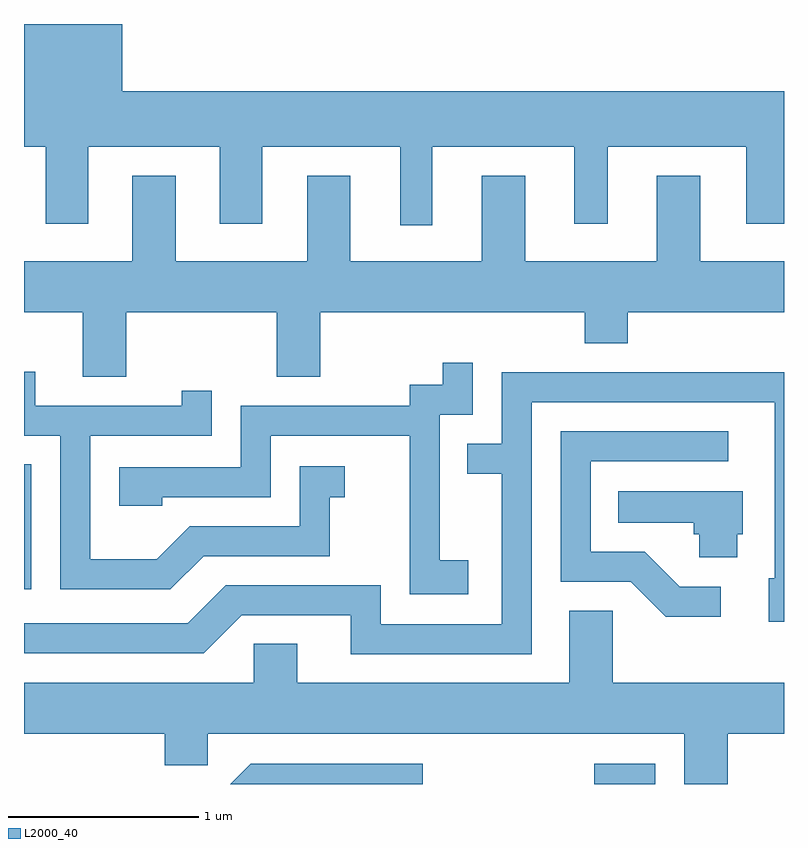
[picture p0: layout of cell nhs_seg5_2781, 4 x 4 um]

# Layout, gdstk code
import gdstk
lib = gdstk.Library(unit=1e-6, precision=1e-09)
def R(c, l, rs):  # rectangles x0, y0, x1, y1
    for r in rs: c.add(gdstk.rectangle(r[:2], r[2:], *l))
def P(c, l, *ps):  # polygons
    for p in ps: c.add(gdstk.Polygon(p, *l))
L2000_40 = (2000, 40)

nhs_seg5_2781 = lib.new_cell('nhs_seg5_2781')
R(nhs_seg5_2781, L2000_40, [(270.613,1472.072,270.934,1472.179), (267.611,1473.096,267.649,1473.754)])
P(nhs_seg5_2781, L2000_40, [(269.759,1475.426),(270.506,1475.426),(270.506,1475.021),(270.684,1475.021),(270.684,1475.426),(271.411,1475.426),(271.411,1475.021),(271.611,1475.021),(271.611,1475.719),(268.129,1475.719),(268.129,1476.072),(267.611,1476.072),(267.611,1475.426),(267.726,1475.426),(267.726,1475.021),(267.949,1475.021),(267.949,1475.426),(268.641,1475.426),(268.641,1475.021),(268.864,1475.021),(268.864,1475.426),(269.591,1475.426),(269.591,1475.013),(269.759,1475.013)],
  [(268.149,1474.556),(268.941,1474.556),(268.941,1474.216),(269.169,1474.216),(269.169,1474.556),(270.561,1474.556),(270.561,1474.391),(270.789,1474.391),(270.789,1474.556),(271.611,1474.556),(271.611,1474.824),(271.169,1474.824),(271.169,1475.274),(270.941,1475.274),(270.941,1474.824),(270.249,1474.824),(270.249,1475.274),(270.021,1475.274),(270.021,1474.824),(269.329,1474.824),(269.329,1475.274),(269.101,1475.274),(269.101,1474.824),(268.409,1474.824),(268.409,1475.274),(268.181,1475.274),(268.181,1474.824),(267.611,1474.824),(267.611,1474.556),(267.921,1474.556),(267.921,1474.216),(268.149,1474.216)],
  [(269.949,1473.249),(269.799,1473.249),(269.799,1474.016),(269.974,1474.016),(269.974,1474.288),(269.816,1474.288),(269.816,1474.174),(269.641,1474.174),(269.641,1474.064),(268.751,1474.064),(268.751,1473.739),(268.111,1473.739),(268.111,1473.536),(268.339,1473.536),(268.339,1473.581),(268.909,1473.581),(268.909,1473.906),(269.641,1473.906),(269.641,1473.071),(269.949,1473.071)],
  [(268.557,1473.271),(269.219,1473.271),(269.219,1473.581),(269.298,1473.581),(269.298,1473.744),(269.061,1473.744),(269.061,1473.429),(268.484,1473.429),(268.309,1473.254),(267.959,1473.254),(267.959,1473.906),(268.599,1473.906),(268.599,1474.143),(268.441,1474.143),(268.441,1474.064),(267.669,1474.064),(267.669,1474.243),(267.611,1474.243),(267.611,1473.906),(267.801,1473.906),(267.801,1473.096),(268.382,1473.096)],
  [(270.284,1474.081),(271.561,1474.081),(271.561,1473.154),(271.531,1473.154),(271.531,1472.926),(271.611,1472.926),(271.611,1474.239),(270.126,1474.239),(270.126,1473.864),(269.943,1473.864),(269.943,1473.706),(270.126,1473.706),(270.126,1472.914),(269.489,1472.914),(269.489,1473.119),(268.674,1473.119),(268.474,1472.919),(267.611,1472.919),(267.611,1472.761),(268.557,1472.761),(268.757,1472.961),(269.331,1472.961),(269.331,1472.756),(270.284,1472.756)],
  [(271.278,1473.109),(271.062,1473.109),(270.877,1473.294),(270.594,1473.294),(270.594,1473.771),(271.318,1473.771),(271.318,1473.929),(270.436,1473.929),(270.436,1473.136),(270.804,1473.136),(270.989,1472.951),(271.278,1472.951)],
  [(271.364,1473.386),(271.394,1473.386),(271.394,1473.614),(270.738,1473.614),(270.738,1473.446),(271.136,1473.446),(271.136,1473.386),(271.166,1473.386),(271.166,1473.266),(271.364,1473.266)],
  [(271.314,1472.336),(271.611,1472.336),(271.611,1472.604),(270.709,1472.604),(270.709,1472.984),(270.481,1472.984),(270.481,1472.604),(269.049,1472.604),(269.049,1472.809),(268.821,1472.809),(268.821,1472.604),(267.611,1472.604),(267.611,1472.336),(268.351,1472.336),(268.351,1472.171),(268.579,1472.171),(268.579,1472.336),(271.086,1472.336),(271.086,1472.072),(271.314,1472.072)],
  [(269.709,1472.179),(268.804,1472.179),(268.697,1472.072),(269.709,1472.072)])

lib.write_gds('nhs_seg5_2781.gds')
